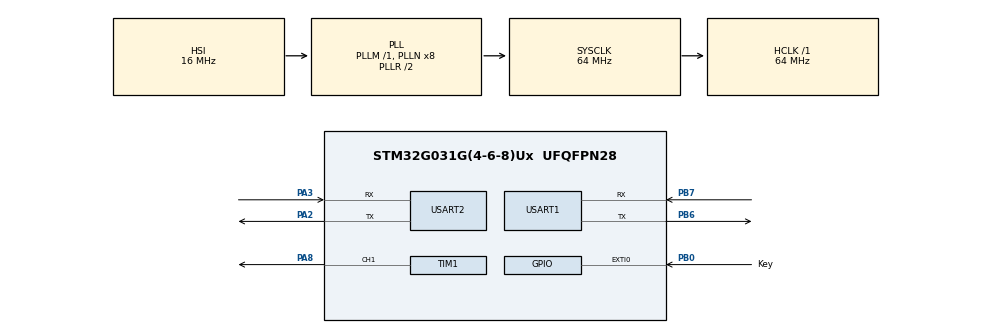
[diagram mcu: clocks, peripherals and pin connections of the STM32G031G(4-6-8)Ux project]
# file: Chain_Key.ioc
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Dma.Request0=USART1_RX
Dma.Request1=USART1_TX
Dma.Request2=USART2_RX
Dma.Request3=USART2_TX
Dma.Request4=TIM1_CH1
Dma.TIM1_CH1.4.Direction=DMA_MEMORY_TO_PERIPH
Dma.TIM1_CH1.4.EventEnable=DISABLE
Dma.TIM1_CH1.4.Instance=DMA1_Channel5
Dma.TIM1_CH1.4.MemDataAlignment=DMA_MDATAALIGN_BYTE
Dma.TIM1_CH1.4.MemInc=DMA_MINC_ENABLE
Dma.TIM1_CH1.4.Mode=DMA_NORMAL
Dma.TIM1_CH1.4.PeriphDataAlignment=DMA_PDATAALIGN_HALFWORD
Dma.TIM1_CH1.4.PeriphInc=DMA_PINC_DISABLE
Dma.TIM1_CH1.4.Polarity=HAL_DMAMUX_REQ_GEN_RISING
Dma.TIM1_CH1.4.Priority=DMA_PRIORITY_LOW
Dma.TIM1_CH1.4.RequestNumber=1
Dma.TIM1_CH1.4.SignalID=NONE
Dma.TIM1_CH1.4.SyncEnable=DISABLE
Dma.TIM1_CH1.4.SyncPolarity=HAL_DMAMUX_SYNC_NO_EVENT
Dma.TIM1_CH1.4.SyncRequestNumber=1
Dma.TIM1_CH1.4.SyncSignalID=NONE
Dma.USART1_RX.0.Direction=DMA_PERIPH_TO_MEMORY
Dma.USART1_RX.0.EventEnable=DISABLE
Dma.USART1_RX.0.Instance=DMA1_Channel1
Dma.USART1_RX.0.MemDataAlignment=DMA_MDATAALIGN_BYTE
Dma.USART1_RX.0.MemInc=DMA_MINC_ENABLE
Dma.USART1_RX.0.Mode=DMA_NORMAL
Dma.USART1_RX.0.PeriphDataAlignment=DMA_PDATAALIGN_BYTE
Dma.USART1_RX.0.PeriphInc=DMA_PINC_DISABLE
Dma.USART1_RX.0.Polarity=HAL_DMAMUX_REQ_GEN_RISING
Dma.USART1_RX.0.Priority=DMA_PRIORITY_LOW
Dma.USART1_RX.0.RequestNumber=1
Dma.USART1_RX.0.SignalID=NONE
Dma.USART1_RX.0.SyncEnable=DISABLE
Dma.USART1_RX.0.SyncPolarity=HAL_DMAMUX_SYNC_NO_EVENT
Dma.USART1_RX.0.SyncRequestNumber=1
Dma.USART1_RX.0.SyncSignalID=NONE
Dma.USART1_TX.1.Direction=DMA_MEMORY_TO_PERIPH
Dma.USART1_TX.1.EventEnable=DISABLE
Dma.USART1_TX.1.Instance=DMA1_Channel2
Dma.USART1_TX.1.MemDataAlignment=DMA_MDATAALIGN_BYTE
Dma.USART1_TX.1.MemInc=DMA_MINC_ENABLE
Dma.USART1_TX.1.Mode=DMA_NORMAL
Dma.USART1_TX.1.PeriphDataAlignment=DMA_PDATAALIGN_BYTE
Dma.USART1_TX.1.PeriphInc=DMA_PINC_DISABLE
Dma.USART1_TX.1.Polarity=HAL_DMAMUX_REQ_GEN_RISING
Dma.USART1_TX.1.Priority=DMA_PRIORITY_LOW
Dma.USART1_TX.1.RequestNumber=1
Dma.USART1_TX.1.SignalID=NONE
Dma.USART1_TX.1.SyncEnable=DISABLE
Dma.USART1_TX.1.SyncPolarity=HAL_DMAMUX_SYNC_NO_EVENT
Dma.USART1_TX.1.SyncRequestNumber=1
Dma.USART1_TX.1.SyncSignalID=NONE
Dma.USART2_RX.2.Direction=DMA_PERIPH_TO_MEMORY
Dma.USART2_RX.2.EventEnable=DISABLE
Dma.USART2_RX.2.Instance=DMA1_Channel3
Dma.USART2_RX.2.MemDataAlignment=DMA_MDATAALIGN_BYTE
Dma.USART2_RX.2.MemInc=DMA_MINC_ENABLE
Dma.USART2_RX.2.Mode=DMA_NORMAL
Dma.USART2_RX.2.PeriphDataAlignment=DMA_PDATAALIGN_BYTE
Dma.USART2_RX.2.PeriphInc=DMA_PINC_DISABLE
Dma.USART2_RX.2.Polarity=HAL_DMAMUX_REQ_GEN_RISING
Dma.USART2_RX.2.Priority=DMA_PRIORITY_LOW
Dma.USART2_RX.2.RequestNumber=1
Dma.USART2_RX.2.SignalID=NONE
Dma.USART2_RX.2.SyncEnable=DISABLE
Dma.USART2_RX.2.SyncPolarity=HAL_DMAMUX_SYNC_NO_EVENT
Dma.USART2_RX.2.SyncRequestNumber=1
Dma.USART2_RX.2.SyncSignalID=NONE
Dma.USART2_TX.3.Direction=DMA_MEMORY_TO_PERIPH
Dma.USART2_TX.3.EventEnable=DISABLE
Dma.USART2_TX.3.Instance=DMA1_Channel4
Dma.USART2_TX.3.MemDataAlignment=DMA_MDATAALIGN_BYTE
Dma.USART2_TX.3.MemInc=DMA_MINC_ENABLE
Dma.USART2_TX.3.Mode=DMA_NORMAL
Dma.USART2_TX.3.PeriphDataAlignment=DMA_PDATAALIGN_BYTE
Dma.USART2_TX.3.PeriphInc=DMA_PINC_DISABLE
Dma.USART2_TX.3.Polarity=HAL_DMAMUX_REQ_GEN_RISING
Dma.USART2_TX.3.Priority=DMA_PRIORITY_LOW
Dma.USART2_TX.3.RequestNumber=1
Dma.USART2_TX.3.SignalID=NONE
Dma.USART2_TX.3.SyncEnable=DISABLE
Dma.USART2_TX.3.SyncPolarity=HAL_DMAMUX_SYNC_NO_EVENT
Dma.USART2_TX.3.SyncRequestNumber=1
Dma.USART2_TX.3.SyncSignalID=NONE
IWDG.Prescaler=IWDG_PRESCALER_16
Mcu.Family=STM32G0
Mcu.Name=STM32G031G(4-6-8)Ux
Mcu.Package=UFQFPN28
NVIC.DMA1_Ch4_5_DMAMUX1_OVR_IRQn=true\:1\:0\:true\:false\:true\:false\:true\:true
NVIC.DMA1_Channel1_IRQn=true\:1\:0\:true\:false\:true\:false\:true\:true
NVIC.DMA1_Channel2_3_IRQn=true\:1\:0\:true\:false\:true\:false\:true\:true
NVIC.EXTI0_1_IRQn=true\:1\:0\:true\:false\:true\:true\:true\:true
NVIC.FLASH_IRQn=true\:1\:0\:true\:false\:true\:true\:true\:true
NVIC.TIM14_IRQn=true\:1\:0\:true\:false\:true\:true\:true\:true
NVIC.TIM16_IRQn=true\:1\:0\:true\:false\:true\:true\:true\:true
NVIC.TIM17_IRQn=true\:1\:0\:true\:false\:true\:true\:true\:true
NVIC.USART1_IRQn=true\:0\:0\:false\:false\:true\:false\:true\:true
NVIC.USART2_IRQn=true\:0\:0\:false\:false\:true\:false\:true\:true
PA2.GPIO_PuPd=GPIO_PULLUP
PA2.GPIO_Speed=GPIO_SPEED_FREQ_HIGH
PA2.Mode=Asynchronous
PA2.PinState=GPIO_PIN_RESET
PA2.Signal=USART2_TX
PA3.GPIO_PuPd=GPIO_PULLUP
PA3.GPIO_Speed=GPIO_SPEED_FREQ_HIGH
PA3.Mode=Asynchronous
PA3.PinState=GPIO_PIN_RESET
PA3.Signal=USART2_RX
PA8.Signal=S_TIM1_CH1
PB0.GPIO_Label=Key
PB0.GPIO_ModeDefaultEXTI=GPIO_MODE_IT_FALLING
PB0.GPIO_PuPd=GPIO_PULLUP
PB0.Signal=GPXTI0
PB6.GPIO_PuPd=GPIO_PULLUP
PB6.GPIO_Speed=GPIO_SPEED_FREQ_HIGH
PB6.Mode=Asynchronous
PB6.Signal=USART1_TX
PB7.GPIO_PuPd=GPIO_PULLUP
PB7.GPIO_Speed=GPIO_SPEED_FREQ_HIGH
PB7.Mode=Asynchronous
PB7.Signal=USART1_RX
ProjectManager.HeapSize=0x200
ProjectManager.StackSize=0x400
ProjectManager.TargetToolchain=STM32CubeIDE
RCC.ADCFreq_Value=64000000
RCC.AHBFreq_Value=64000000
RCC.CortexFreq_Value=64000000
RCC.EXTERNAL_CLOCK_VALUE=12288000
RCC.HCLKFreq_Value=64000000
RCC.HSE_VALUE=8000000
RCC.HSI_VALUE=16000000
RCC.LSE_VALUE=32768
RCC.PLLQ=RCC_PLLQ_DIV4
RCC.SYSCLKFreq_VALUE=64000000
RCC.SYSCLKSource=RCC_SYSCLKSOURCE_PLLCLK
RCC.VCOOutputFreq_Value=128000000
SH.S_TIM1_CH1.0=TIM1_CH1,PWM Generation1 CH1
TIM1.Channel-PWM\ Generation1\ CH1=TIM_CHANNEL_1
TIM1.Period=79
TIM14.AutoReloadPreload=TIM_AUTORELOAD_PRELOAD_ENABLE
TIM14.Period=1699
TIM14.Prescaler=6399
TIM16.Period=29999
TIM16.Prescaler=6399
TIM17.Period=9999
TIM17.Prescaler=6399
USART1.VirtualMode-Asynchronous=VM_ASYNC
USART2.VirtualMode-Asynchronous=VM_ASYNC
VP_IWDG_VS_IWDG.Mode=IWDG_Activate
VP_TIM14_VS_ClockSourceINT.Mode=Enable_Timer
VP_TIM16_VS_ClockSourceINT.Mode=Enable_Timer
VP_TIM17_VS_ClockSourceINT.Mode=Enable_Timer
VP_TIM1_VS_ClockSourceINT.Mode=Internal
board=custom

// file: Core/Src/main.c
/* USER CODE BEGIN Header */
/**
 ******************************************************************************
 * @file           : main.c
 * @brief          : Main program body
 ******************************************************************************
 * @attention
 *
 * Copyright (c) 2024 STMicroelectronics.
 * All rights reserved.
 *
 * This software is licensed under terms that can be found in the LICENSE file
 * in the root directory of this software component.
 * If no LICENSE file comes with this software, it is provided AS-IS.
 *
 ******************************************************************************
 */
/* USER CODE END Header */
#include "main.h"
#include "dma.h"
#include "iwdg.h"
#include "tim.h"
#include "usart.h"
#include "gpio.h"

/* USER CODE BEGIN Includes */
#include "base_function.h"
#include "key_function.h"
#include "RGB.h"
#include "myflash.h"
/* USER CODE END Includes */

/* USER CODE BEGIN PV */
// DMA receive buffers
__IO uint8_t g_uart_in_rx_buf[UART_BUFFER_SIZE][BUFFER_SIZE * 2];  // uart_in receive buffer for DMA
__IO uint8_t g_uart_out_rx_buf[UART_BUFFER_SIZE][BUFFER_SIZE * 2]; // uart_out receive buffer for DMA

// Transmission status for UART
__IO uint8_t g_uart_in_rx_index = 0;  // Index for UART input (receiving) buffer position
__IO uint8_t g_uart_out_rx_index = 0; // Index for UART output (receiving) buffer position

// Transmission complete flags for UART
__IO uint8_t g_uart_in_transmit_complete = 1;  // Flag indicating if uart_in transmission is complete (1: complete)
__IO uint8_t g_uart_out_transmit_complete = 1; // Flag indicating if uart_out transmission is complete (1: complete)

// Command buffer and related variables
__IO uint8_t g_cmd_buf[BUFFER_SIZE] = {0}; // Command buffer initialized to zero
__IO uint8_t g_cmd_size = 0;               // Size of the command currently in the buffer
__IO uint8_t g_cmd_status =
    CMD_SPACE_IDLE_STATUS; // Status of the command processing

// Device status variables
__IO uint8_t g_tail_status =
    CHAIN_TAIL_DEVICE; // Status of the tail device in the chain
__IO uint8_t g_heart_beat_record =
    0;                                              // Heartbeat record for monitoring device status
__IO uint8_t g_bootloader_version = 0;              // Version of the bootloader
__IO uint8_t g_firmware_version = SOFTWARE_VERSION; // Version of the firmware

// Device type information
__IO uint16_t g_device_type = (uint8_t)((PRODUCT_TYPE_HIGH << 8) |
                                        PRODUCT_TYPE_LOW); // Combined product type from high and low bytes
__IO uint8_t g_light = 0;                                  // Light status or value

__IO static uint32_t s_last_press_time = 0; // Store the last press time in milliseconds

__IO static uint8_t s_key_flag = 0;
/* USER CODE END PV */

void SystemClock_Config(void);

/* USER CODE BEGIN 0 */
/**
 * @brief Set the Interrupt Vector Table for the application in SRAM.
 * @param None
 * @retval None
 */
void iap_set(void)
{
  uint8_t i; // Loop index
  uint32_t *pVecTab =
      (uint32_t *)(0x20000000); // Pointer to the vector table in SRAM

  // Copy the interrupt vector table from the application address to SRAM
  for (i = 0; i < 48; i++)
  {
    // Copy each vector entry to the SRAM vector table
    *(pVecTab++) = *(__IO uint32_t *)(APPLICATION_ADDRESS + (i << 2));
  }

  // Enable the SYSCFG peripheral clock
  __HAL_RCC_SYSCFG_CLK_ENABLE();

  // Remap the memory to use SRAM for the vector table
  __HAL_SYSCFG_REMAPMEMORY_SRAM();
}

/**
 * @brief Initialize the chain device settings.
 * @param None
 * @retval None
 */
void chain_init(void)
{
  // Get the version of the bootloader
  g_bootloader_version = get_bootloader_version();

  // Check if the RGB light setting is set to maximum (0xFF)
  if (get_rgb_light() == 0xFF)
  {
    // Set the light to a base color if it is maximum
    g_light = RGB_LIGHT_BASE;
    set_rgb_light(g_light);
  }
  else
  {
    // Otherwise, get the current RGB light setting
    g_light = get_rgb_light();
  }
}
/* USER CODE END 0 */

int main(void)
{

  /* USER CODE BEGIN 1 */
  iap_set();
  chain_init();
  /* USER CODE END 1 */

  /* MCU Configuration--------------------------------------------------------*/

  /* Reset of all peripherals, Initializes the Flash interface and the Systick. */
  HAL_Init();

  /* Configure the system clock */
  SystemClock_Config();

  /* Initialize all configured peripherals */
  MX_GPIO_Init();
  MX_DMA_Init();
  MX_USART1_UART_Init();
  MX_USART2_UART_Init();
  MX_IWDG_Init();
  MX_TIM14_Init();
  MX_TIM1_Init();
  MX_TIM16_Init();
  MX_TIM17_Init();
  /* USER CODE BEGIN 2 */
  rgb_init();
  HAL_Delay(1);
  LL_TIM_ClearFlag_UPDATE(TIM14); // Clear update TIM14
  LL_TIM_EnableIT_UPDATE(TIM14);  // ENABLE TIM14
  LL_TIM_EnableCounter(TIM14);    // ENABLE TIM14
  HAL_Delay(1);
  LL_TIM_ClearFlag_UPDATE(TIM17); // Clear update TIM17
  LL_TIM_EnableIT_UPDATE(TIM17);  // ENABLE TIM17
  LL_TIM_EnableCounter(TIM17);    // ENABLE TIM17
  HAL_Delay(1);
  LL_TIM_ClearFlag_UPDATE(TIM16); // Clear update TIM16
  LL_TIM_EnableIT_UPDATE(TIM16);  // ENABLE TIM16
  LL_TIM_EnableCounter(TIM16);    // ENABLE TIM16
  HAL_Delay(1);

  /* USER CODE END 2 */

  /* Infinite loop */
  /* USER CODE BEGIN WHILE */
  while (1)
  {
    if (g_cmd_status == CMD_SPACE_BUSY_STATUS)
    {
      switch (g_cmd_buf[0])
      {
      case CHAIN_SET_RGB_VALUE:
        chain_set_rgb_value((uint8_t *)(g_cmd_buf + 1), (g_cmd_size - 1));
        break;
      case CHAIN_GET_RGB_VALUE:
        chain_get_rgb_value();
        break;
      case CHAIN_SET_RGB_LIGHT:
        chain_set_light_value(g_cmd_buf[1]);
        break;
      case CHAIN_GET_RGB_LIGHT:
        chain_get_light_value();
        break;
      case CHAIN_GET_BOOTLOADER_VERSION:
        chain_get_bootloader_version_handle();
        break;
      case CHAIN_GET_VERSION_DEVICE:
        chain_get_firmware_version_handle();
        break;
      case CHAIN_GET_DEVICE_TYPE:
        chain_get_device_type_handle();
        break;
      case CHAIN_IAP_UPDATE:
        chain_iap_update_handle(g_cmd_buf[1]);
        break;
      default:
        break;
      }
      g_cmd_status = CMD_SPACE_IDLE_STATUS;
    }
    /* USER CODE END WHILE */

    /* USER CODE BEGIN 3 */
    if(s_key_flag && g_uart_in_transmit_complete){
        key_press_down_send();
        s_key_flag = 0;
    }
    LL_IWDG_ReloadCounter(IWDG);
  }
  /* USER CODE END 3 */
}

void SystemClock_Config(void)
{
  RCC_OscInitTypeDef RCC_OscInitStruct = {0};
  RCC_ClkInitTypeDef RCC_ClkInitStruct = {0};

  /** Configure the main internal regulator output voltage
   */
  HAL_PWREx_ControlVoltageScaling(PWR_REGULATOR_VOLTAGE_SCALE1);

  /** Initializes the RCC Oscillators according to the specified parameters
   * in the RCC_OscInitTypeDef structure.
   */
  RCC_OscInitStruct.OscillatorType = RCC_OSCILLATORTYPE_HSI | RCC_OSCILLATORTYPE_LSI;
  RCC_OscInitStruct.HSIState = RCC_HSI_ON;
  RCC_OscInitStruct.HSIDiv = RCC_HSI_DIV1;
  RCC_OscInitStruct.HSICalibrationValue = RCC_HSICALIBRATION_DEFAULT;
  RCC_OscInitStruct.LSIState = RCC_LSI_ON;
  RCC_OscInitStruct.PLL.PLLState = RCC_PLL_ON;
  RCC_OscInitStruct.PLL.PLLSource = RCC_PLLSOURCE_HSI;
  RCC_OscInitStruct.PLL.PLLM = RCC_PLLM_DIV1;
  RCC_OscInitStruct.PLL.PLLN = 8;
  RCC_OscInitStruct.PLL.PLLP = RCC_PLLP_DIV2;
  RCC_OscInitStruct.PLL.PLLQ = RCC_PLLQ_DIV4;
  RCC_OscInitStruct.PLL.PLLR = RCC_PLLR_DIV2;
  if (HAL_RCC_OscConfig(&RCC_OscInitStruct) != HAL_OK)
  {
    Error_Handler();
  }

  /** Initializes the CPU, AHB and APB buses clocks
   */
  RCC_ClkInitStruct.ClockType = RCC_CLOCKTYPE_HCLK | RCC_CLOCKTYPE_SYSCLK | RCC_CLOCKTYPE_PCLK1;
  RCC_ClkInitStruct.SYSCLKSource = RCC_SYSCLKSOURCE_PLLCLK;
  RCC_ClkInitStruct.AHBCLKDivider = RCC_SYSCLK_DIV1;
  RCC_ClkInitStruct.APB1CLKDivider = RCC_HCLK_DIV1;

  if (HAL_RCC_ClockConfig(&RCC_ClkInitStruct, FLASH_LATENCY_2) != HAL_OK)
  {
    Error_Handler();
  }
}

/* USER CODE BEGIN 4 */
/**
 * @brief GPIO EXTI falling edge interrupt callback (Key Press).
 * @note This function is triggered by the falling edge of the button press.
 *       It incorporates debouncing logic to only trigger the event once every 200ms.
 * @param GPIO_Pin GPIO pin that triggered the interrupt.
 * @retval None
 */
void HAL_GPIO_EXTI_Falling_Callback(uint16_t GPIO_Pin)
{
  if (GPIO_Pin == Key_Pin)
  {
    uint32_t current_time = HAL_GetTick(); // Get current system tick in milliseconds
    // Check if debounce time has passed (current time - last press time >= debounce time)
    if (current_time - s_last_press_time >= DEBOUNCE_TIME_MS)
    {
      // Trigger the data packet send logic
      s_key_flag = 1;

      // Update the last press time
      s_last_press_time = current_time;
    }
  }
}
/* USER CODE END 4 */

void Error_Handler(void)
{
  __disable_irq();
  while (1)
  {
  }
}

#ifdef USE_FULL_ASSERT
/**
 * @brief  Reports the name of the source file and the source line number
 *         where the assert_param error has occurred.
 * @param  file: pointer to the source file name
 * @param  line: assert_param error line source number
 * @retval None
 */
void assert_failed(uint8_t *file, uint32_t line)
{
  /* USER CODE BEGIN 6 */
  /* User can add his own implementation to report the file name and line
     number,
     ex: printf("Wrong parameters value: file %s on line %d\r\n", file, line) */
  /* USER CODE END 6 */
}
#endif /* USE_FULL_ASSERT */
